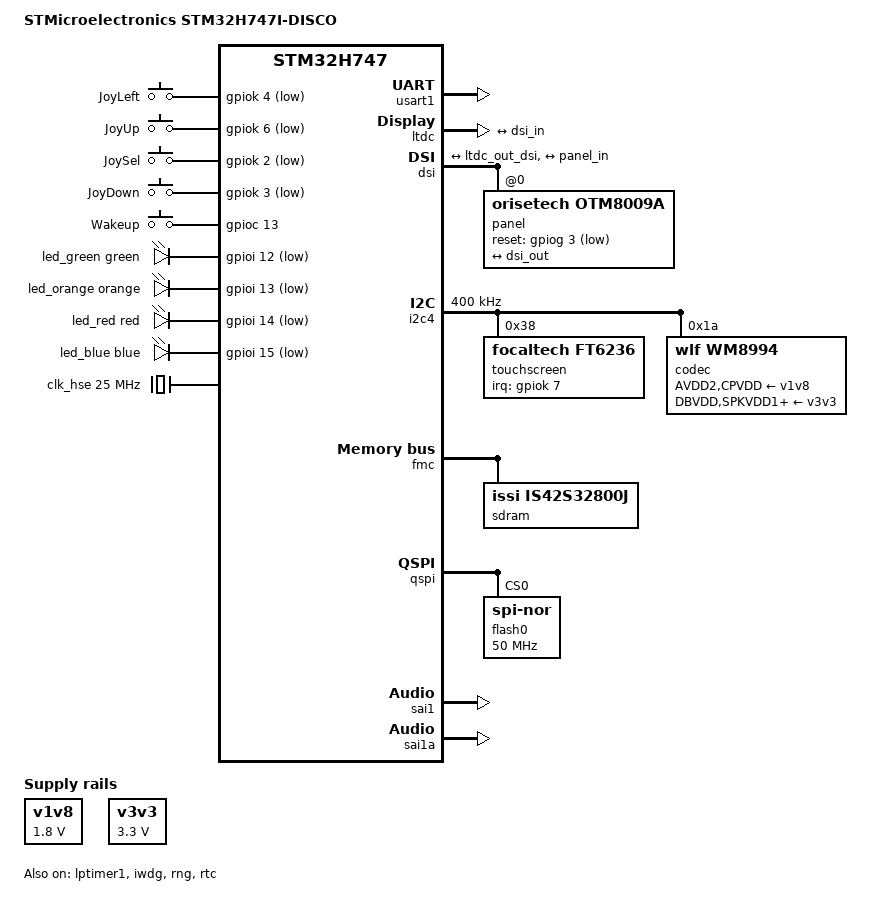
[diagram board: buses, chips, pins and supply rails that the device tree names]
// SPDX-FileCopyrightText: 2026 Core Devices LLC
// SPDX-License-Identifier: (GPL-2.0-only OR BSD-2-Clause)

/dts-v1/;

#include "st/stm32h747xi.dtsi"
#include "stm32h747i_disco-pinctrl.dtsi"

#include <dt-bindings/gpio/gpio.h>
#include <dt-bindings/input/input.h>
#include <dt-bindings/leds/common.h>

/ {
	model = "STMicroelectronics STM32H747I-DISCO";
	compatible = "st,stm32h747i-disco", "st,stm32h747";

	reserved-memory {
		#address-cells = <1>;
		#size-cells = <1>;
		ranges;

		// The framebuffer, at the start of the SDRAM
		fb_mem: framebuffer@70000000 {
			reg = <0x70000000 0xbb800>;
			no-map;
		};
	};

	// What the LTDC scans to the panel, landscape, which the panel takes turned a quarter turn
	framebuffer {
		compatible = "simple-framebuffer";
		memory-region = <&fb_mem>;
		width = <800>;
		height = <480>;
		stride = <1600>;
		format = "r5g6b5";
		display = <&ltdc>;
	};

	// The joystick, as the four buttons of a watch
	buttons: gpio-keys {
		compatible = "gpio-keys";

		button-back {
			label = "JoyLeft";
			gpios = <&gpiok 4 (GPIO_ACTIVE_LOW | GPIO_PULL_UP)>;
			linux,code = <KEY_BACK>;
		};

		button-up {
			label = "JoyUp";
			gpios = <&gpiok 6 (GPIO_ACTIVE_LOW | GPIO_PULL_UP)>;
			linux,code = <KEY_UP>;
		};

		button-select {
			label = "JoySel";
			gpios = <&gpiok 2 (GPIO_ACTIVE_LOW | GPIO_PULL_UP)>;
			linux,code = <KEY_SELECT>;
		};

		button-down {
			label = "JoyDown";
			gpios = <&gpiok 3 (GPIO_ACTIVE_LOW | GPIO_PULL_UP)>;
			linux,code = <KEY_DOWN>;
		};

		// On a wakeup pin, it starts the kit again from power-off
		button-wakeup {
			label = "Wakeup";
			gpios = <&gpioc 13 GPIO_ACTIVE_HIGH>;
			linux,code = <KEY_WAKEUP>;
			wakeup-source;
		};
	};

	// The supplies of the audio codec, from the kit's regulators
	v1v8: regulator-1v8 {
		compatible = "regulator-fixed";
		regulator-name = "v1v8";
		regulator-min-microvolt = <1800000>;
		regulator-max-microvolt = <1800000>;
		regulator-always-on;
	};

	v3v3: regulator-3v3 {
		compatible = "regulator-fixed";
		regulator-name = "v3v3";
		regulator-min-microvolt = <3300000>;
		regulator-max-microvolt = <3300000>;
		regulator-always-on;
	};

	// The headphone output of the codec, on the audio jack
	speaker: sound-speaker {
		compatible = "simple-audio-card";
		simple-audio-card,name = "speaker";
		simple-audio-card,format = "i2s";

		simple-audio-card,cpu {
			sound-dai = <&sai1a>;
		};

		simple-audio-card,codec {
			sound-dai = <&codec>;
		};
	};

	leds {
		compatible = "gpio-leds";

		led_green: led-green {
			color = <LED_COLOR_ID_GREEN>;
			gpios = <&gpioi 12 GPIO_ACTIVE_LOW>;
		};

		led_orange: led-orange {
			color = <LED_COLOR_ID_ORANGE>;
			gpios = <&gpioi 13 GPIO_ACTIVE_LOW>;
		};

		led_red: led-red {
			color = <LED_COLOR_ID_RED>;
			gpios = <&gpioi 14 GPIO_ACTIVE_LOW>;
		};

		led_blue: led-blue {
			color = <LED_COLOR_ID_BLUE>;
			gpios = <&gpioi 15 GPIO_ACTIVE_LOW>;
		};
	};
};

&clk_hse {
	clock-frequency = <25000000>;
};

// The CPU at 400 MHz from PLL1 on HSE, AHB at 200 MHz and APB at 100 MHz
&rcc {
	assigned-clocks = <&rcc PLLSRC>, <&rcc PLL1_P>, <&rcc SYS_CK>, <&rcc HCLK>,
			  <&rcc PCLK1>, <&rcc PCLK2>, <&rcc PCLK3>, <&rcc PCLK4>, <&rcc PLL3_R>,
			  <&rcc LPTIM1_CK>, <&rcc RTC_CK>, <&rcc PLL2_P>, <&rcc SAI1_CK>;
	assigned-clock-parents = <&rcc HSE_CK>, <0>, <&rcc PLL1_P>, <0>, <0>, <0>, <0>, <0>,
				 <0>, <&rcc LSE_CK>, <&rcc LSE_CK>, <0>, <&rcc PLL2_P>;
	// PLL3 R is the pixel clock of the frames to the panel, LPTIM1 and the RTC count the LSE
	// crystal, and SAI1 divides PLL2 P to 256 times the audio rates within 0.03%
	assigned-clock-rates = <0>, <400000000>, <0>, <200000000>, <100000000>, <100000000>,
			       <100000000>, <100000000>, <42000000>, <0>, <0>, <73750000>, <0>;
};

// The SMPS supplies VCORE, as the kit ships
&pwr {
	st,supply-config = "direct-smps";
};

&dma1 {
	status = "okay";
};

&dma2 {
	status = "okay";
};

&dmamux1 {
	status = "okay";
};

&usart1 {
	pinctrl-0 = <&usart1_default>;
	pinctrl-names = "default";
	dmas = <&dmamux1 41 0x400 0x10>;
	dma-names = "rx";
	status = "okay";
};

// The system timer, on the LSE, which keeps running in Stop mode
&lptimer1 {
	status = "okay";

	timer {
		status = "okay";
	};
};

&dma2d {
	status = "okay";
};

&ltdc {
	status = "okay";

	port {
		ltdc_out_dsi: endpoint {
			remote-endpoint = <&dsi_in>;
		};
	};
};

// The 4" 480x800 panel of the MB1166 daughterboard
&dsi {
	status = "okay";

	ports {
		#address-cells = <1>;
		#size-cells = <0>;

		port@0 {
			reg = <0>;

			dsi_in: endpoint {
				remote-endpoint = <&ltdc_out_dsi>;
			};
		};

		port@1 {
			reg = <1>;

			dsi_out: endpoint {
				remote-endpoint = <&panel_in>;
				data-lanes = <1 2>;
			};
		};
	};

	panel: panel@0 {
		compatible = "orisetech,otm8009a";
		reg = <0>;
		reset-gpios = <&gpiog 3 GPIO_ACTIVE_LOW>;

		port {
			panel_in: endpoint {
				remote-endpoint = <&dsi_out>;
			};
		};
	};
};

// The capacitive touch controller of the MB1166 module, and the audio codec
&i2c4 {
	pinctrl-0 = <&i2c4_default>;
	pinctrl-names = "default";
	clock-frequency = <400000>;
	status = "okay";

	touchscreen: touchscreen@38 {
		compatible = "focaltech,ft6236";
		reg = <0x38>;
		pinctrl-0 = <&touch_default>;
		pinctrl-names = "default";
		interrupt-parent = <&gpiok>;
		interrupts = <7 IRQ_TYPE_EDGE_FALLING>;
		touchscreen-size-x = <480>;
		touchscreen-size-y = <800>;
		// Portrait, its axes turned with the frame
		touchscreen-inverted-x;
		touchscreen-swapped-x-y;
	};

	codec: audio-codec@1a {
		compatible = "wlf,wm8994";
		reg = <0x1a>;
		#sound-dai-cells = <0>;
		AVDD2-supply = <&v1v8>;
		CPVDD-supply = <&v1v8>;
		DBVDD-supply = <&v3v3>;
		SPKVDD1-supply = <&v3v3>;
		SPKVDD2-supply = <&v3v3>;
	};
};

// The IS42S32800J on SDRAM bank 2, swapped to where the CPU caches it
&fmc {
	pinctrl-0 = <&fmc_default>;
	pinctrl-names = "default";
	status = "okay";

	sdram: sdram@70000000 {
		compatible = "issi,is42s32800j";
		reg = <0x70000000 0x2000000>;
	};
};

// The MT25QL512ABB on bank 1 of the dual-flash pair; the one on bank 2 is not described
&qspi {
	pinctrl-0 = <&qspi_default>;
	pinctrl-names = "default";
	status = "okay";

	flash0: flash@0 {
		compatible = "jedec,spi-nor";
		reg = <0>;
		spi-max-frequency = <50000000>;
		spi-rx-bus-width = <4>;
		spi-tx-bus-width = <4>;
	};
};

&iwdg {
	status = "okay";
};

&rng {
	status = "okay";
};

&rtc {
	status = "okay";
};

&sai1 {
	status = "okay";
};

// The master of the link to the codec
&sai1a {
	pinctrl-0 = <&sai1a_default>;
	pinctrl-names = "default";
	dma-names = "tx";
	status = "okay";
};

&internal_flash {
	partitions {
		compatible = "fixed-partitions";
		#address-cells = <1>;
		#size-cells = <1>;

		// Bank 1, where the Cortex-M7 boots from
		partition@0 {
			label = "code";
			reg = <0x0 0x100000>;
		};
	};
};
